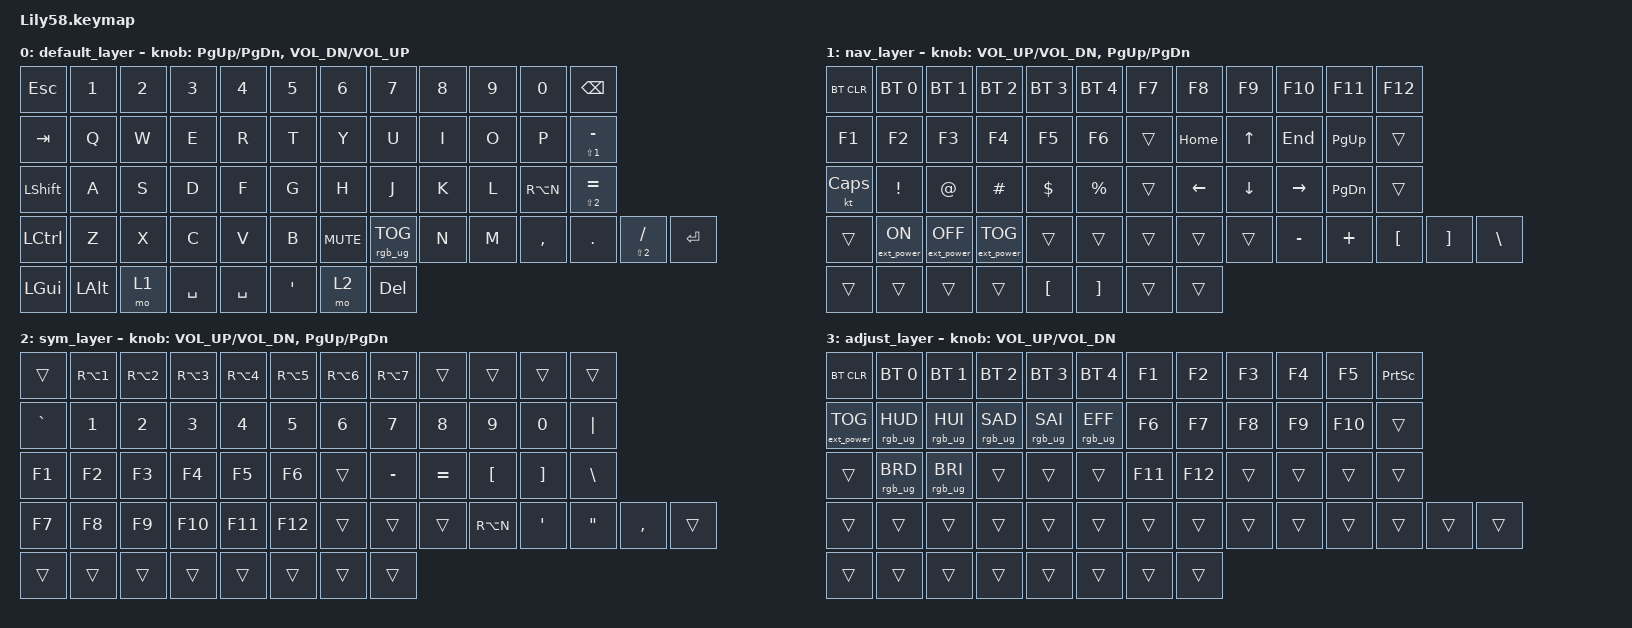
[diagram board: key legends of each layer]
/*
 * Lily58 Keymap - US altgr-intl layout
 * SO: English (US, altgr-intl)
 * La tecla al lado de la L envia RA(N) = AltGr+N = ñ
 * RA(N) con Shift = AltGr+Shift+N = Ñ
 * Fecha: 2026-05-28
 */

#include <behaviors.dtsi>
#include <dt-bindings/zmk/bt.h>
#include <dt-bindings/zmk/ext_power.h>
#include <dt-bindings/zmk/keys.h>
#include <dt-bindings/zmk/rgb.h>

/ {
    conditional_layers {
        compatible = "zmk,conditional-layers";

        adjust_layer {
            if-layers = <1 2>;
            then-layer = <3>;
        };
    };

    /* Macro para Hyper modifier (LCTRL+LALT+LGUI+RSHFT) */

    macros {
        hyper_mod: hyper_mod {
            compatible = "zmk,behavior-macro";
            #binding-cells = <0>;
            wait-ms = <0>;
            tap-ms = <0>;
            bindings =
                <&macro_press>,
                <&kp LCTRL &kp LALT &kp LGUI &kp RSHFT>,
                <&macro_pause_for_release>,
                <&macro_release>,
                <&kp RSHFT &kp LGUI &kp LALT &kp LCTRL>;
        };
    };

    /* Hold-tap que usa el macro hyper para hold, kp para tap */

    behaviors {
        ht_hyper: ht_hyper {
            compatible = "zmk,behavior-hold-tap";
            #binding-cells = <2>;
            flavor = "hold-preferred";
            tapping-term-ms = <200>;
            bindings = <&hyper_mod>, <&kp>;
        };
    };

    keymap {
        compatible = "zmk,keymap";

        /* Layer 0: Base - US layout con ñ directa via AltGr */

        default_layer {
            bindings = <
&kp ESC    &kp N1    &kp N2  &kp N3     &kp N4     &kp N5   &kp N6      &kp N7           &kp N8  &kp N9  &kp N0     &kp BACKSPACE
&kp TAB    &kp Q     &kp W   &kp E      &kp R      &kp T    &kp Y       &kp U            &kp I   &kp O   &kp P      &mt LS(N1) MINUS
&kp LSHFT  &kp A     &kp S   &kp D      &kp F      &kp G    &kp H       &kp J            &kp K   &kp L   &kp RA(N)  &mt LS(N2) EQUAL
&kp LCTRL  &kp Z     &kp X   &kp C      &kp V      &kp B    &kp C_MUTE  &rgb_ug RGB_TOG  &kp N   &kp M   &kp COMMA  &kp DOT           &mt LS(N2) SLASH  &kp ENTER
&kp LGUI   &kp LALT  &mo 1   &kp SPACE  &kp SPACE  &kp SQT  &mo 2       &kp DEL
            >;

            sensor-bindings = <&inc_dec_kp PG_UP PG_DN &inc_dec_kp C_VOL_DN C_VOL_UP>;
        };

        /* Layer 1: Nav - Navegacion y F-keys */

        nav_layer {
            bindings = <
&bt BT_CLR  &bt BT_SEL 0      &bt BT_SEL 1       &bt BT_SEL 2       &bt BT_SEL 3  &bt BT_SEL 4  &kp F7  &kp F8    &kp F9    &kp F10    &kp F11    &kp F12
&kp F1      &kp F2            &kp F3             &kp F4             &kp F5        &kp F6        &trans  &kp HOME  &kp UP    &kp END    &kp PG_UP  &trans
&kt CAPS    &kp EXCL          &kp AT             &kp HASH           &kp DOLLAR    &kp PRCNT     &trans  &kp LEFT  &kp DOWN  &kp RIGHT  &kp PG_DN  &trans
&trans      &ext_power EP_ON  &ext_power EP_OFF  &ext_power EP_TOG  &trans        &trans        &trans  &trans    &trans    &kp MINUS  &kp PLUS   &kp LBKT  &kp RBKT  &kp BSLH
&trans      &trans            &trans             &trans             &kp LBKT      &kp RBKT      &trans  &trans
            >;

            sensor-bindings = <&inc_dec_kp C_VOL_UP C_VOL_DN &inc_dec_kp PG_UP PG_DN>;
        };

        /* Layer 2: Sym - Simbolos */

        sym_layer {
            bindings = <
&trans     &kp RA(N1)  &kp RA(N2)  &kp RA(N3)  &kp RA(N4)  &kp RA(N5)  &kp RA(N6)  &kp RA(N7)  &trans     &trans     &trans    &trans
&kp GRAVE  &kp N1      &kp N2      &kp N3      &kp N4      &kp N5      &kp N6      &kp N7      &kp N8     &kp N9     &kp N0    &kp PIPE
&kp F1     &kp F2      &kp F3      &kp F4      &kp F5      &kp F6      &trans      &kp MINUS   &kp EQUAL  &kp LBKT   &kp RBKT  &kp BSLH
&kp F7     &kp F8      &kp F9      &kp F10     &kp F11     &kp F12     &trans      &trans      &trans     &kp RA(N)  &kp SQT   &kp DQT   &kp COMMA  &trans
&trans     &trans      &trans      &trans      &trans      &trans      &trans      &trans
            >;

            sensor-bindings = <&inc_dec_kp C_VOL_UP C_VOL_DN &inc_dec_kp PG_UP PG_DN>;
        };

        /* Layer 3: Adjust - Configuracion */

        adjust_layer {
            bindings = <
&bt BT_CLR         &bt BT_SEL 0     &bt BT_SEL 1     &bt BT_SEL 2     &bt BT_SEL 3     &bt BT_SEL 4     &kp F1   &kp F2   &kp F3  &kp F4  &kp F5   &kp PSCRN
&ext_power EP_TOG  &rgb_ug RGB_HUD  &rgb_ug RGB_HUI  &rgb_ug RGB_SAD  &rgb_ug RGB_SAI  &rgb_ug RGB_EFF  &kp F6   &kp F7   &kp F8  &kp F9  &kp F10  &trans
&trans             &rgb_ug RGB_BRD  &rgb_ug RGB_BRI  &trans           &trans           &trans           &kp F11  &kp F12  &trans  &trans  &trans   &trans
&trans             &trans           &trans           &trans           &trans           &trans           &trans   &trans   &trans  &trans  &trans   &trans     &trans  &trans
&trans             &trans           &trans           &trans           &trans           &trans           &trans   &trans
            >;

            sensor-bindings = <&inc_dec_kp C_VOL_UP C_VOL_DN>;
        };
    };
};
